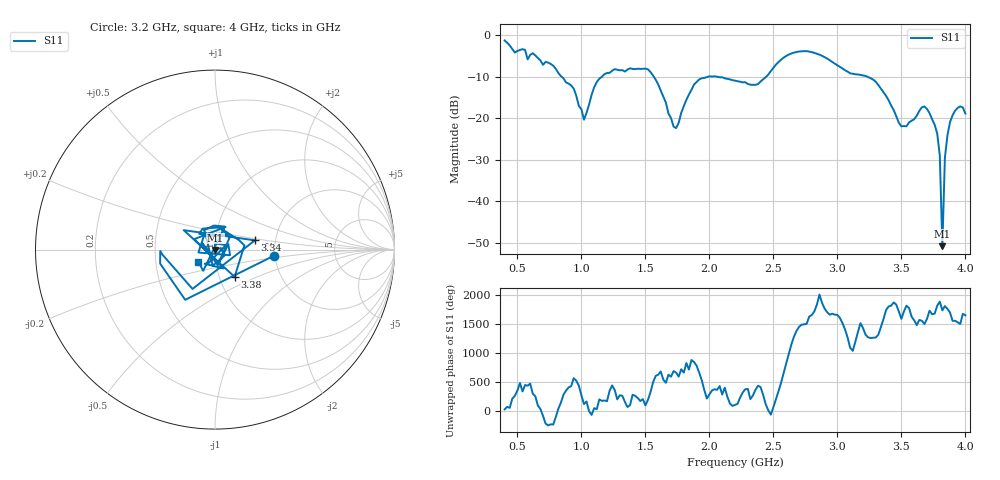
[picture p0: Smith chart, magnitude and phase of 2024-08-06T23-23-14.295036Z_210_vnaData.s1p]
!Created with skrf (http://scikit-rf.org).
# Hz S RI R 50.0
!freq ReS11 ImS11
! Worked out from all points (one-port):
!   181 points, 400 MHz to 4 GHz, reference 50 ohm
!   lowest |S11| = -50.8 dB at 3.82 GHz (marker M1), VSWR 1.01, Z = 50.1 - j0.246 ohm
!   |S11| at or under -10 dB: 1.567 GHz to 1.983 GHz (416.5 MHz wide, 23.5 % of centre); 2.069 GHz to 2.442 GHz (372.8 MHz wide, 16.5 % of centre); 3.238 GHz to end of sweep (the widest 3 of 4)
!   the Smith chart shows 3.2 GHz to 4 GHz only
!   S11 on the Smith chart (normalised r, x): 3.2 GHz: 1.97, -0.15; 3.34 GHz: 1.56, +0.17; 3.38 GHz: 1.18, -0.37; 4 GHz: 0.82, -0.11
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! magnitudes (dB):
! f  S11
! 400 MHz  -1.2
! 860 MHz  -10.3
! 940 MHz  -12.8
! 1.02 GHz  -20.3
! 1.12 GHz  -11.2
! 1.3 GHz  -8.4
! 1.52 GHz  -8.2
! 1.6 GHz  -11.8
! 1.72 GHz  -22.0
! 1.76 GHz  -21.1
! 1.92 GHz  -10.6
! 2.2 GHz  -10.9
! 2.38 GHz  -11.7
! 2.66 GHz  -4.1
! 3.1 GHz  -9.1
! 3.2 GHz  -9.6
! 3.34 GHz  -12.8
! 3.38 GHz  -14.6
! 3.5 GHz  -21.9
! 3.56 GHz  -21.0
! 3.68 GHz  -17.1
! 3.78 GHz  -23.7
! 3.8 GHz  -29.0
! 3.82 GHz  -50.8
! 3.84 GHz  -29.4
! 3.86 GHz  -24.0
! 3.92 GHz  -18.1
! 4 GHz  -18.8
